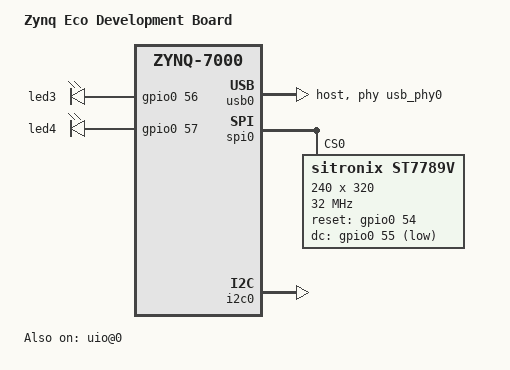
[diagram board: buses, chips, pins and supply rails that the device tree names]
/include/ "system-conf.dtsi"

#define GPIO_ACTIVE_HIGH 0
#define GPIO_ACTIVE_LOW  1

/ {
    model = "Zynq Eco Development Board"; 
    compatible = "zynq7010,zynq-7020","xlnx,zynq-7000"; 

	chosen{
		bootargs = "console=ttyPS0,115200 earlyprintk root=/dev/nfs nfsroot=192.168.5.195:/home/sunlee/zynq-rootfs,tcp ip=dhcp rw uio_pdrv_genirq.of_id=generic-uio";
		stdout-path = "serial0:115200n8";
	};

    usb_phy0: phy0 {
    		compatible = "ulpi-phy";
    		#phy-cells = <0>;
    		reg = <0xe0002000 0x1000>;
    		view-port = <0x170>;
    		drv-vbus;
	};

    leds {
		compatible = "gpio-leds";

		gpio-led3 {
			label = "led3";
			gpios = <&gpio0 56 GPIO_ACTIVE_HIGH>;
			default-state = "off";
		};

		gpio-led4 {
			label = "led4";
			gpios = <&gpio0 57 GPIO_ACTIVE_HIGH>;
			linux,default-trigger = "heartbeat";
		};
	};
};

&usb0{
	status = "okay";
    dr_mode = "host";
    usb-phy = <&usb_phy0>;
};

&spi0 {
    st7789v@0 {
        status = "okay";
        compatible = "sitronix,st7789v";
       	reg = <0>;
       	spi-max-frequency =<32000000>;        //SPI时钟32M
       	rotate =<270>;
       	spi-cpol;
       	spi-cpha;
       	rgb;                           //颜色格式RGB
       	fps =<30>;                      //刷新30帧率
       	buswidth =<8>;                   //总线宽度8
        reset-gpios=<&gpio0 54 GPIO_ACTIVE_HIGH>;   //EMIO 55
       	dc-gpios  =<&gpio0 55 GPIO_ACTIVE_LOW>;   //EMIO 54
	    width = <240>;
        height= <320>;
       	debug =<0>;                     //不开启调试
        };
};

&i2c0 {
	status = "okay";
};

&amba_pl{
	uio@0{
		#address-cells = <1>;
		#size-cells = <1>;
		compatible = "generic-uio";
		status = "okay";
		interrupt-controller;
		interrupt-parent = <&intc>;
		interrupts = <0 31 1>;
		reg = <0x40000000 0x2000>;
	};

	/* AXI-DMA */
	axidma_chrdev: axidma_chrdev@0 {
		compatible = "xlnx,axidma-chrdev";
		dmas = <&axi_dma_0 0 &axi_dma_0 1>;
		dma-names = "tx_channel", "rx_channel";
	};

	axi_dma_0: dma@40400000 {
		#dma-cells = <1>;
		clock-names = "s_axi_lite_aclk", "m_axi_sg_aclk", "m_axi_mm2s_aclk", "m_axi_s2mm_aclk";
		clocks = <&clkc 15>, <&clkc 15>, <&clkc 15>, <&clkc 15>;
		compatible = "xlnx,axi-dma-1.00.a";
		interrupt-names = "mm2s_introut", "s2mm_introut";
		interrupt-parent = <&intc>;
		interrupts = <0 29 4 0 30 4>;
		reg = <0x40400000 0x10000>;
		xlnx,addrwidth = <0x20>;
		xlnx,sg-length-width = <0x1a>;
		dma-channel@40400000 {
			compatible = "xlnx,axi-dma-mm2s-channel";
			dma-channels = <0x1>;
			interrupt-parent = <&intc>;
			interrupts = <0 29 4>;
			xlnx,datawidth = <0x20>;
			xlnx,device-id = <0x0>;
		};
		dma-channel@40400030 {
			compatible = "xlnx,axi-dma-s2mm-channel";
			dma-channels = <0x1>;
			interrupt-parent = <&intc>;
			interrupts = <0 30 4>;
			xlnx,datawidth = <0x20>;
			xlnx,device-id = <0x1>;
		};
	};
};
